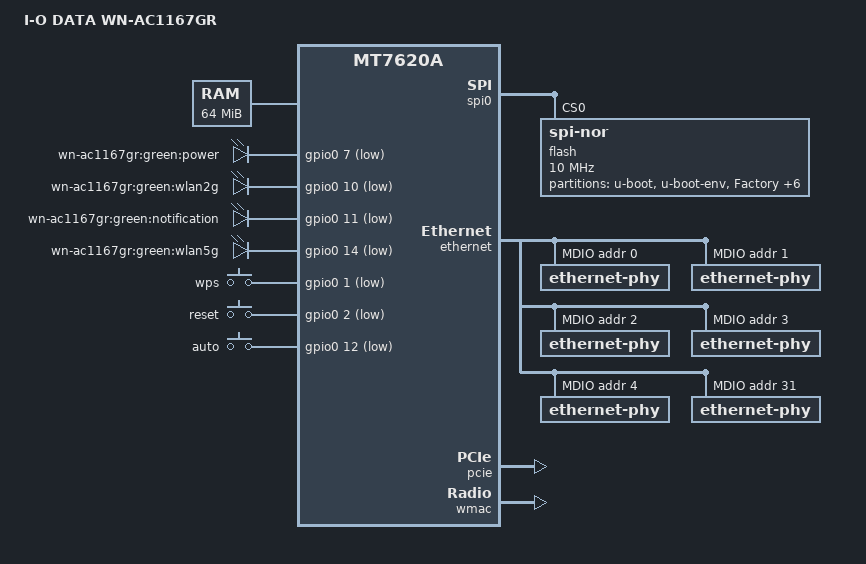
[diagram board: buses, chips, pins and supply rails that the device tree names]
// SPDX-License-Identifier: GPL-2.0-or-later OR MIT
/dts-v1/;

#include "mt7620a.dtsi"

#include <dt-bindings/gpio/gpio.h>
#include <dt-bindings/input/input.h>

/ {
	compatible = "iodata,wn-ac1167gr", "ralink,mt7620a-soc";
	model = "I-O DATA WN-AC1167GR";

	aliases {
		led-boot = &led_power;
		led-failsafe = &led_power;
		led-running = &led_power;
		led-upgrade = &led_power;
	};

	memory@0 {
		device_type = "memory";
		reg = <0x0 0x4000000>;
	};

	leds {
		compatible = "gpio-leds";

		led_power: power {
			label = "wn-ac1167gr:green:power";
			gpios = <&gpio0 7 GPIO_ACTIVE_LOW>;
			default-state = "on";
		};

		wlan2g {
			label = "wn-ac1167gr:green:wlan2g";
			gpios = <&gpio0 10 GPIO_ACTIVE_LOW>;
		};

		notification {
			label = "wn-ac1167gr:green:notification";
			gpios = <&gpio0 11 GPIO_ACTIVE_LOW>;
		};

		wlan5g {
			label = "wn-ac1167gr:green:wlan5g";
			gpios = <&gpio0 14 GPIO_ACTIVE_LOW>;
		};
	};

	keys {
		compatible = "gpio-keys-polled";
		poll-interval = <20>;

		wps {
			label = "wps";
			gpios = <&gpio0 1 GPIO_ACTIVE_LOW>;
			linux,code = <KEY_WPS_BUTTON>;
		};

		reset {
			label = "reset";
			gpios = <&gpio0 2 GPIO_ACTIVE_LOW>;
			linux,code = <KEY_RESTART>;
		};

		auto {
			label = "auto";
			gpios = <&gpio0 12 GPIO_ACTIVE_LOW>;
			linux,code = <BTN_0>;
			linux,input-type = <EV_SW>;
		};
	};
};

&spi0 {
	status = "okay";

	flash@0 {
		compatible = "jedec,spi-nor";
		reg = <0>;
		spi-max-frequency = <10000000>;

		partitions {
			compatible = "fixed-partitions";
			#address-cells = <1>;
			#size-cells = <1>;

			partition@0 {
				label = "u-boot";
				reg = <0x0 0x30000>;
				read-only;
			};

			partition@30000 {
				label = "u-boot-env";
				reg = <0x30000 0x10000>;
				read-only;
			};

			Factory: partition@40000 {
				label = "Factory";
				reg = <0x40000 0x8000>;
				read-only;
			};

			iNIC_rf: partition@48000 {
				label = "iNIC_rf";
				reg = <0x48000 0x8000>;
				read-only;
			};

			partition@50000 {
				label = "NoUsed";
				reg = <0x50000 0x20000>;
				read-only;
			};

			partition@70000 {
				compatible = "denx,uimage";
				label = "firmware";
				reg = <0x70000 0x6b4000>;
			};

			partition@724000 {
				label = "manufacture";
				reg = <0x724000 0x8c000>;
				read-only;
			};

			partition@7b0000 {
				label = "backup";
				reg = <0x7b0000 0x10000>;
				read-only;
			};

			partition@7c0000 {
				label = "storage";
				reg = <0x7c0000 0x40000>;
				read-only;
			};
		};
	};
};

&ethernet {
	pinctrl-names = "default";
	pinctrl-0 = <&rgmii1_pins &mdio_pins>;
	mtd-mac-address = <&Factory 0x4>;

	port@5 {
		status = "okay";
		mediatek,fixed-link = <1000 1 1 1>;
		phy-mode = "rgmii";
	};

	mdio-bus {
		#address-cells = <1>;
		#size-cells = <0>;
		status = "okay";

		ethernet-phy@0 {
			reg = <0>;
			phy-mode = "rgmii";
		};

		ethernet-phy@1 {
			reg = <1>;
			phy-mode = "rgmii";
		};

		ethernet-phy@2 {
			reg = <2>;
			phy-mode = "rgmii";
		};

		ethernet-phy@3 {
			reg = <3>;
			phy-mode = "rgmii";
		};

		ethernet-phy@4 {
			reg = <4>;
			phy-mode = "rgmii";
		};

		ethernet-phy@1f {
			reg = <0x1f>;
			phy-mode = "rgmii";
		};
	};
};

&pinctrl {
	state_default: pinctrl0 {
		gpio {
			ralink,group = "i2c", "uartf";
			ralink,function = "gpio";
		};
	};
};

&pcie {
	status = "okay";
};

&pcie0 {
	wifi@0,0 {
		reg = <0x0000 0 0 0 0>;
		mediatek,mtd-eeprom = <&iNIC_rf 0x0>;
		ieee80211-freq-limit = <5000000 6000000>;
	};
};

&wmac {
	ralink,mtd-eeprom = <&Factory 0x0>;
};
